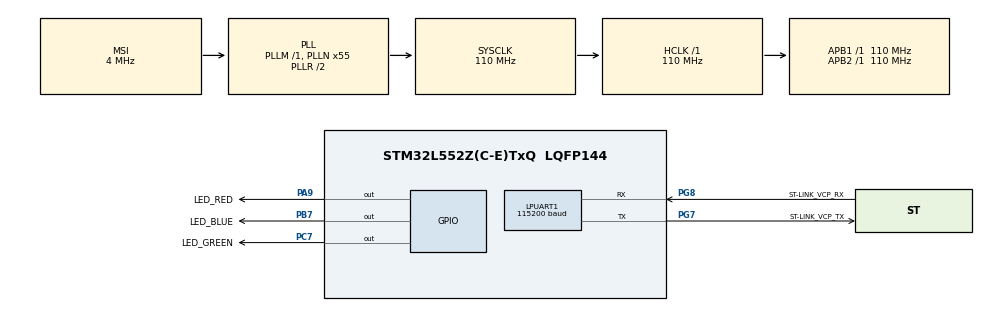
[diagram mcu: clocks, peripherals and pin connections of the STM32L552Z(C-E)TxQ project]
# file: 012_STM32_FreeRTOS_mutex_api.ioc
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LPUART1.BaudRate=115200
Mcu.Family=STM32L5
Mcu.Name=STM32L552Z(C-E)TxQ
Mcu.Package=LQFP144
Mcu.TrustZone=disable
NVIC.PriorityGroup=NVIC_PRIORITYGROUP_3
PA13\ (JTMS/SWDIO).Mode=Trace_Asynchronous_SW
PA13\ (JTMS/SWDIO).Signal=DEBUG_JTMS-SWDIO
PA14\ (JTCK/SWCLK).Mode=Trace_Asynchronous_SW
PA14\ (JTCK/SWCLK).Signal=DEBUG_JTCK-SWCLK
PA9.GPIO_Label=LED_RED
PA9.Signal=GPIO_Output
PB3\ (JTDO/TRACESWO).Mode=Trace_Asynchronous_SW
PB3\ (JTDO/TRACESWO).Signal=DEBUG_JTDO-SWO
PB7.GPIO_Label=LED_BLUE
PB7.Signal=GPIO_Output
PC14-OSC32_IN\ (PC14).Mode=LSE-External-Oscillator
PC14-OSC32_IN\ (PC14).Signal=RCC_OSC32_IN
PC15-OSC32_OUT\ (PC15).Mode=LSE-External-Oscillator
PC15-OSC32_OUT\ (PC15).Signal=RCC_OSC32_OUT
PC7.GPIO_Label=LED_GREEN
PC7.Signal=GPIO_Output
PG7.GPIO_Label=ST-LINK_VCP_TX
PG7.Mode=Asynchronous
PG7.Signal=LPUART1_TX
PG8.GPIO_Label=ST-LINK_VCP_RX
PG8.Mode=Asynchronous
PG8.Signal=LPUART1_RX
ProjectManager.HeapSize=0x200
ProjectManager.StackSize=0x400
ProjectManager.TargetToolchain=STM32CubeIDE
RCC.ADCCLockSelection=RCC_ADCCLKSOURCE_SYSCLK
RCC.ADCFreq_Value=110000000
RCC.AHBFreq_Value=110000000
RCC.APB1Freq_Value=110000000
RCC.APB1TimFreq_Value=110000000
RCC.APB2Freq_Value=110000000
RCC.APB2TimFreq_Value=110000000
RCC.CK48CLockSelection=RCC_USBCLKSOURCE_HSI48
RCC.CortexFreq_Value=110000000
RCC.HCLKFreq_Value=110000000
RCC.HSE_VALUE=8000000
RCC.HSI48_VALUE=48000000
RCC.HSI_VALUE=16000000
RCC.MSI_VALUE=4000000
RCC.PLLN=55
RCC.PLLSAI1N=24
RCC.RTCClockSelection=RCC_RTCCLKSOURCE_LSE
RCC.SYSCLKFreq_VALUE=110000000
RCC.SYSCLKSource=RCC_SYSCLKSOURCE_PLLCLK
RCC.USBFreq_Value=48000000
RCC.VCOOutputFreq_Value=220000000
VP_PWR_VS_SECSignals.Mode=Security/Privilege
board=NUCLEO-L552ZE-Q

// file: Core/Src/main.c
/* USER CODE BEGIN Header */
/**
 ******************************************************************************
 * @file           : main.c
 * @brief          : Example 012: Mutex using FreeRTOS API for NUCLEO-L552.
 *
 * @details  Two tasks are created with different priorities. Both Tasks will
 * print some characters on to the STDOUT/UART when they get a chance to run.
 *
 * Task 2's priority > Task1's Priority.
 *
 * So Task 2 runs first and prints some data to the STDOUT then it blocks for
 * "random" number of ticks. When Task2 blocks, Task1 takes over the CPU and
 * start running and tries to output its string of data on to the stdout, but
 * here is catch, since Task2 is blocked for random number of ticks, we don't
 * know when it will wake up. If it wakes up, then it will definitely preempt
 * the Task1 which may be in the middle of printing string. so you will see a
 * distorted output, if you don't use mutex to protect the stdout.
 *
 ******************************************************************************
 * @attention
 *
 * <h2><center>&copy; Copyright 2021 Leandro Medus.
 * All rights reserved.</center></h2>
 *
 * Permission is hereby granted, free of charge, to any person obtaining a copy
 * of this software and associated documentation files (the "Software"), to deal
 * in the Software without restriction, including without limitation the rights
 * to use, copy, modify, merge, publish, distribute, sublicense, and/or sell
 * copies of the Software, and to permit persons to whom the Software is
 * furnished to do so, subject to the following conditions:
 *
 * The above copyright notice and this permission notice shall be included in all
 * copies or substantial portions of the Software.
 *
 * THE SOFTWARE IS PROVIDED "AS IS", WITHOUT WARRANTY OF ANY KIND, EXPRESS OR
 * IMPLIED, INCLUDING BUT NOT LIMITED TO THE WARRANTIES OF MERCHANTABILITY,
 * FITNESS FOR A PARTICULAR PURPOSE AND NONINFRINGEMENT. IN NO EVENT SHALL THE
 * AUTHORS OR COPYRIGHT HOLDERS BE LIABLE FOR ANY CLAIM, DAMAGES OR OTHER
 * LIABILITY, WHETHER IN AN ACTION OF CONTRACT, TORT OR OTHERWISE, ARISING FROM,
 * OUT OF OR IN CONNECTION WITH THE SOFTWARE OR THE USE OR OTHER DEALINGS IN THE
 * SOFTWARE.
 *
 ******************************************************************************
 */

/*
 * Other useful functions:
 *
 *      SEGGER_SYSVIEW_PrintfTarget("Task-1 is yielding");
 *      traceISR_ENTER();
 *      traceISR_EXIT();
 *      traceISR_EXIT_TO_SCHEDULER();
 *      taskYIELD();
 * */

/* USER CODE END Header */
#include "main.h"

/* USER CODE BEGIN Includes */
#include "FreeRTOS.h"
#include "task.h"
#include "queue.h"
#include "semphr.h"
#include "timers.h"

#include <stdio.h>
#include <stdlib.h>
#include <string.h>
//#include <stdbool.h>
/* USER CODE END Includes */

/* USER CODE BEGIN PTD */
#define TRUE                1
#define FALSE               0

// MUTEX switch : un-comment the below line to use mutex
#define USE_MUTEX

#define DWT_CTRL    (*(volatile uint32_t*)0xE0001000)       /* Data Watchpoint and Trace Unit */
/* USER CODE END PTD */

UART_HandleTypeDef hlpuart1;

/* USER CODE BEGIN PV */

char usr_msg[250] = {0};

TaskHandle_t xTaskHandle1 = NULL;
TaskHandle_t xTaskHandle2 = NULL;

#ifdef USE_MUTEX
/* Declare a variable of type xSemaphoreHandle.  This is used to reference the
mutex type semaphore that is used to ensure mutual exclusive access to UART. */
SemaphoreHandle_t xMutex;
#endif
/* USER CODE END PV */

void SystemClock_Config(void);
static void MX_GPIO_Init(void);
static void MX_LPUART1_UART_Init(void);
/* USER CODE BEGIN PFP */

void sendString(char *msg);

/* Dimensions the buffer into which messages destined for stdout are placed. */
#define mainMAX_MSG_LEN ( 80 )

/* The task to be created.  Two instances of this task are created. */
static void prvPrintTask( void *pvParameters );

/* The function that uses a mutex to control access to standard out. */
static void prvNewPrintString( const portCHAR *pcString );

/* USER CODE END PFP */

int main(void)
{
    /* USER CODE BEGIN 1 */
    BaseType_t status;

    char msg_program_init [] = "[info] ---- Example 012: Mutex using FreeRTOS API for NUCLEO-L552. ----\r\n";

    /* USER CODE END 1 */

    /* MCU Configuration--------------------------------------------------------*/

    /* Reset of all peripherals, Initializes the Flash interface and the Systick. */
    HAL_Init();

    /* Configure the system clock */
    SystemClock_Config();

    /* Initialize all configured peripherals */
    MX_GPIO_Init();
    MX_LPUART1_UART_Init();
    /* USER CODE BEGIN 2 */

    DWT_CTRL |= ( 1 << 0);                      // Enable the CYCCNT counter. (to maintain time stamps in Segger)

    sendString(msg_program_init);               // send program description with UART

    SEGGER_SYSVIEW_Conf();
    SEGGER_SYSVIEW_Start();                     // Start recording with SEGGER

#ifdef USE_MUTEX
    /* Before a semaphore is used it must be explicitly created.  In this example
    a mutex type semaphore is created. */
    xMutex = xSemaphoreCreateMutex();
#endif

    /* The tasks are going to use a pseudo random delay, seed the random number
    generator. */
    srand( 567 );

#ifdef USE_MUTEX
    /* Only create the tasks if the semaphore was created successfully. */
    if( xMutex != NULL )
    {
#endif
        /* Create two instances of the tasks that attempt to write stdout.  The
        string they attempt to write is passed in as the task parameter.  The tasks
        are created at different priorities so some pre-emption will occur. */
        status = xTaskCreate( prvPrintTask, "Print1", 240, "Task 1 ******************************************\r\n", 1, NULL );
        configASSERT(status == pdPASS);

        status = xTaskCreate( prvPrintTask, "Print2", 240, "Task 2 ------------------------------------------\r\n", 2, NULL );
        configASSERT(status == pdPASS);

        /* Start the scheduler so the created tasks start executing. */
        vTaskStartScheduler();
#ifdef USE_MUTEX
    }
#endif

    /* USER CODE END 2 */

    /* Infinite loop */
    /* USER CODE BEGIN WHILE */
    while (1)
    {
        /* If all is well we will never reach here as the scheduler will now be
        running the tasks.  If we do reach here then it is likely that there was
        insufficient heap memory available for a resource to be created. */

        /* USER CODE END WHILE */

    }
}

void SystemClock_Config(void)
{
    RCC_OscInitTypeDef RCC_OscInitStruct = {0};
    RCC_ClkInitTypeDef RCC_ClkInitStruct = {0};

    /** Configure the main internal regulator output voltage
     */
    if (HAL_PWREx_ControlVoltageScaling(PWR_REGULATOR_VOLTAGE_SCALE0) != HAL_OK)
    {
        Error_Handler();
    }
    /** Initializes the RCC Oscillators according to the specified parameters
     * in the RCC_OscInitTypeDef structure.
     */
    RCC_OscInitStruct.OscillatorType = RCC_OSCILLATORTYPE_MSI;
    RCC_OscInitStruct.MSIState = RCC_MSI_ON;
    RCC_OscInitStruct.MSICalibrationValue = RCC_MSICALIBRATION_DEFAULT;
    RCC_OscInitStruct.MSIClockRange = RCC_MSIRANGE_6;
    RCC_OscInitStruct.PLL.PLLState = RCC_PLL_ON;
    RCC_OscInitStruct.PLL.PLLSource = RCC_PLLSOURCE_MSI;
    RCC_OscInitStruct.PLL.PLLM = 1;
    RCC_OscInitStruct.PLL.PLLN = 55;
    RCC_OscInitStruct.PLL.PLLP = RCC_PLLP_DIV7;
    RCC_OscInitStruct.PLL.PLLQ = RCC_PLLQ_DIV2;
    RCC_OscInitStruct.PLL.PLLR = RCC_PLLR_DIV2;
    if (HAL_RCC_OscConfig(&RCC_OscInitStruct) != HAL_OK)
    {
        Error_Handler();
    }
    /** Initializes the CPU, AHB and APB buses clocks
     */
    RCC_ClkInitStruct.ClockType = RCC_CLOCKTYPE_HCLK|RCC_CLOCKTYPE_SYSCLK
            |RCC_CLOCKTYPE_PCLK1|RCC_CLOCKTYPE_PCLK2;
    RCC_ClkInitStruct.SYSCLKSource = RCC_SYSCLKSOURCE_PLLCLK;
    RCC_ClkInitStruct.AHBCLKDivider = RCC_SYSCLK_DIV1;
    RCC_ClkInitStruct.APB1CLKDivider = RCC_HCLK_DIV1;
    RCC_ClkInitStruct.APB2CLKDivider = RCC_HCLK_DIV1;

    if (HAL_RCC_ClockConfig(&RCC_ClkInitStruct, FLASH_LATENCY_5) != HAL_OK)
    {
        Error_Handler();
    }
}

static void MX_LPUART1_UART_Init(void)
{

    hlpuart1.Instance = LPUART1;
    hlpuart1.Init.BaudRate = 115200;
    hlpuart1.Init.WordLength = UART_WORDLENGTH_8B;
    hlpuart1.Init.StopBits = UART_STOPBITS_1;
    hlpuart1.Init.Parity = UART_PARITY_NONE;
    hlpuart1.Init.Mode = UART_MODE_TX_RX;
    hlpuart1.Init.HwFlowCtl = UART_HWCONTROL_NONE;
    hlpuart1.Init.OneBitSampling = UART_ONE_BIT_SAMPLE_DISABLE;
    hlpuart1.Init.ClockPrescaler = UART_PRESCALER_DIV1;
    hlpuart1.AdvancedInit.AdvFeatureInit = UART_ADVFEATURE_NO_INIT;
    hlpuart1.FifoMode = UART_FIFOMODE_DISABLE;
    if (HAL_UART_Init(&hlpuart1) != HAL_OK)
    {
        Error_Handler();
    }
    if (HAL_UARTEx_SetTxFifoThreshold(&hlpuart1, UART_TXFIFO_THRESHOLD_1_8) != HAL_OK)
    {
        Error_Handler();
    }
    if (HAL_UARTEx_SetRxFifoThreshold(&hlpuart1, UART_RXFIFO_THRESHOLD_1_8) != HAL_OK)
    {
        Error_Handler();
    }
    if (HAL_UARTEx_DisableFifoMode(&hlpuart1) != HAL_OK)
    {
        Error_Handler();
    }
    /* USER CODE BEGIN LPUART1_Init 2 */

    // enabling interrupt for the flag
    // __HAL_UART_ENABLE_IT(&hlpuart1, UART_IT_RXNE);

    /* USER CODE END LPUART1_Init 2 */

}

static void MX_GPIO_Init(void)
{
    GPIO_InitTypeDef GPIO_InitStruct = {0};

    /* GPIO Ports Clock Enable */
    __HAL_RCC_GPIOC_CLK_ENABLE();
    __HAL_RCC_GPIOG_CLK_ENABLE();
    HAL_PWREx_EnableVddIO2();
    __HAL_RCC_GPIOA_CLK_ENABLE();
    __HAL_RCC_GPIOB_CLK_ENABLE();

    /*Configure GPIO pin Output Level */
    HAL_GPIO_WritePin(LED_GREEN_GPIO_Port, LED_GREEN_Pin, GPIO_PIN_RESET);

    /*Configure GPIO pin Output Level */
    HAL_GPIO_WritePin(LED_RED_GPIO_Port, LED_RED_Pin, GPIO_PIN_RESET);

    /*Configure GPIO pin Output Level */
    HAL_GPIO_WritePin(LED_BLUE_GPIO_Port, LED_BLUE_Pin, GPIO_PIN_RESET);

    /*Configure GPIO pin : LED_GREEN_Pin */
    GPIO_InitStruct.Pin = LED_GREEN_Pin;
    GPIO_InitStruct.Mode = GPIO_MODE_OUTPUT_PP;
    GPIO_InitStruct.Pull = GPIO_NOPULL;
    GPIO_InitStruct.Speed = GPIO_SPEED_FREQ_LOW;
    HAL_GPIO_Init(LED_GREEN_GPIO_Port, &GPIO_InitStruct);

    /*Configure GPIO pin : LED_RED_Pin */
    GPIO_InitStruct.Pin = LED_RED_Pin;
    GPIO_InitStruct.Mode = GPIO_MODE_OUTPUT_PP;
    GPIO_InitStruct.Pull = GPIO_NOPULL;
    GPIO_InitStruct.Speed = GPIO_SPEED_FREQ_LOW;
    HAL_GPIO_Init(LED_RED_GPIO_Port, &GPIO_InitStruct);

    /*Configure GPIO pin : LED_BLUE_Pin */
    GPIO_InitStruct.Pin = LED_BLUE_Pin;
    GPIO_InitStruct.Mode = GPIO_MODE_OUTPUT_PP;
    GPIO_InitStruct.Pull = GPIO_NOPULL;
    GPIO_InitStruct.Speed = GPIO_SPEED_FREQ_LOW;
    HAL_GPIO_Init(LED_BLUE_GPIO_Port, &GPIO_InitStruct);

}

/* USER CODE BEGIN 4 */

/* --------------------------------------------------------------------------*/

/**
 * @brief  This function send a string using the UART
 * @retval None
 */
void sendString(char *msg)
{
    sprintf(usr_msg, msg);

    // sending a string
    HAL_UART_Transmit(&hlpuart1, (uint8_t *) usr_msg, strlen(usr_msg), 100);
}

/**
 * @brief
 * @details
 *
 * @retval None
 */

static void prvNewPrintString( const portCHAR *pcString )
{
static char cBuffer[ mainMAX_MSG_LEN ];

#ifdef USE_MUTEX
    /* The semaphore is created before the scheduler is started so already
    exists by the time this task executes.

    Attempt to take the semaphore, blocking indefinitely if the mutex is not
    available immediately.  The call to xSemaphoreTake() will only return when
    the semaphore has been successfully obtained so there is no need to check the
    return value.  If any other delay period was used then the code must check
    that xSemaphoreTake() returns pdTRUE before accessing the resource (in this
    case standard out. */
    xSemaphoreTake( xMutex, portMAX_DELAY );
    {
#endif
        /* The following line will only execute once the semaphore has been
        successfully obtained - so standard out can be accessed freely. */
        sprintf( cBuffer, "%s", pcString );
        sendString(cBuffer);
#ifdef USE_MUTEX
    }
    xSemaphoreGive( xMutex );
#endif

}
/*-----------------------------------------------------------*/

static void prvPrintTask( void *pvParameters )
{
char *pcStringToPrint;

    /* Two instances of this task are created so the string the task will send
    to prvNewPrintString() is passed in the task parameter.  Cast this to the
    required type. */
    pcStringToPrint = ( char * ) pvParameters;

    for( ;; )
    {
        /* Print out the string using the newly defined function. */
        prvNewPrintString( pcStringToPrint );

        /* Wait a pseudo random time.  Note that rand() is not necessarily
        re-entrant, but in this case it does not really matter as the code does
        not care what value is returned.  In a more secure application a version
        of rand() that is known to be re-entrant should be used - or calls to
        rand() should be protected using a critical section. */
        vTaskDelay( rand() & 0xF );
    }
}

/* --------------------------------------------------------------------------*/
/* USER CODE END 4 */

void Error_Handler(void)
{
    /* USER CODE BEGIN Error_Handler_Debug */
    /* User can add his own implementation to report the HAL error return state */
    __disable_irq();
    while (1)
    {
        __NOP();
    }
    /* USER CODE END Error_Handler_Debug */
}

/************************ (C) COPYRIGHT STMicroelectronics *****END OF FILE****/
